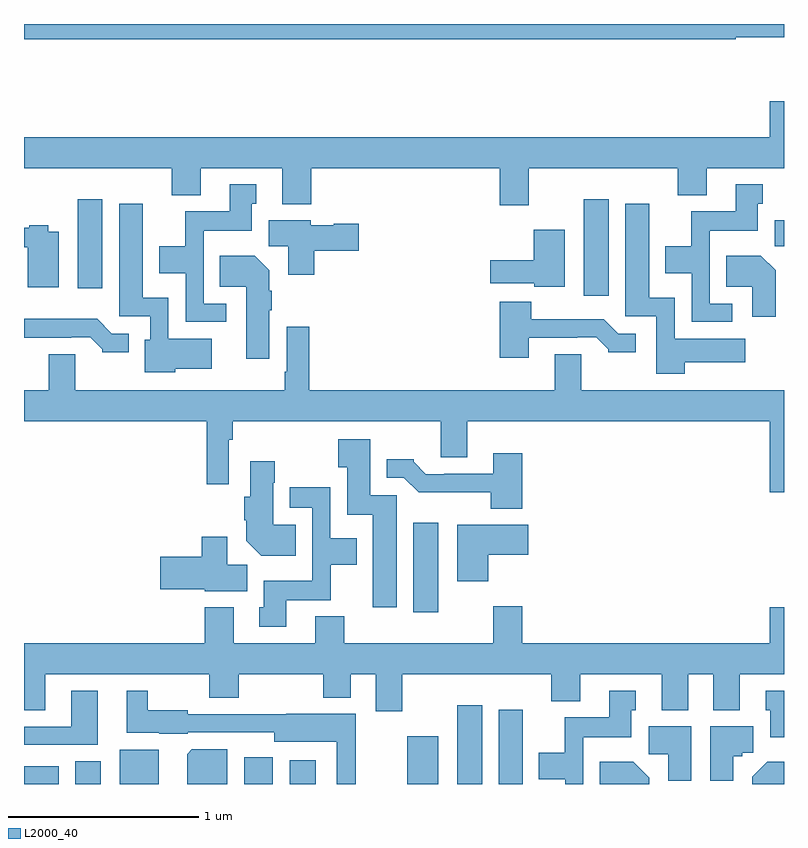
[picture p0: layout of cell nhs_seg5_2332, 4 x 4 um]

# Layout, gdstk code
import gdstk
lib = gdstk.Library(unit=1e-6, precision=1e-09)
def R(c, l, rs):  # rectangles x0, y0, x1, y1
    for r in rs: c.add(gdstk.rectangle(r[:2], r[2:], *l))
def P(c, l, *ps):  # polygons
    for p in ps: c.add(gdstk.Polygon(p, *l))
L2000_40 = (2000, 40)

nhs_seg5_2332 = lib.new_cell('nhs_seg5_2332')
R(nhs_seg5_2332, L2000_40, [(245,906.799,245.182,906.892), (245.27,906.799,245.404,906.92), (245.504,906.799,245.71,906.98), (246.158,906.799,246.31,906.941), (246.398,906.799,246.535,906.925), (247.28,906.799,247.411,907.213), (247.499,906.799,247.624,907.189), (247.049,907.704,247.18,908.173), (247.946,909.369,248.077,909.877), (245.282,909.408,245.413,909.877), (248.951,909.628,249,909.766)])
P(nhs_seg5_2332, L2000_40, [(248.745,910.728),(249,910.728),(249,910.799),(245,910.799),(245,910.72),(248.745,910.72)],
  [(247.657,910.04),(248.441,910.04),(248.441,909.899),(248.593,909.899),(248.593,910.04),(249,910.04),(249,910.393),(248.924,910.393),(248.924,910.204),(245,910.204),(245,910.04),(245.777,910.04),(245.777,909.899),(245.929,909.899),(245.929,910.04),(246.359,910.04),(246.359,909.851),(246.512,909.851),(246.512,910.04),(247.505,910.04),(247.505,909.846),(247.657,909.846)],
  [(246.064,909.327),(245.946,909.327),(245.946,909.71),(246.199,909.71),(246.199,909.852),(246.223,909.852),(246.223,909.955),(246.083,909.955),(246.083,909.814),(245.848,909.814),(245.848,909.628),(245.711,909.628),(245.711,909.488),(245.85,909.488),(245.85,909.231),(246.064,909.231)],
  [(248.728,909.327),(248.61,909.327),(248.61,909.71),(248.863,909.71),(248.863,909.852),(248.887,909.852),(248.887,909.955),(248.747,909.955),(248.747,909.814),(248.512,909.814),(248.512,909.628),(248.375,909.628),(248.375,909.488),(248.514,909.488),(248.514,909.231),(248.728,909.231)],
  [(245.796,908.984),(245.989,908.984),(245.989,909.142),(245.76,909.142),(245.76,909.358),(245.626,909.358),(245.626,909.853),(245.501,909.853),(245.501,909.261),(245.664,909.261),(245.664,909.138),(245.636,909.138),(245.636,908.966),(245.796,908.966)],
  [(248.477,909.02),(248.797,909.02),(248.797,909.142),(248.424,909.142),(248.424,909.358),(248.29,909.358),(248.29,909.853),(248.165,909.853),(248.165,909.261),(248.328,909.261),(248.328,908.958),(248.477,908.958)],
  [(246.527,909.605),(246.763,909.605),(246.763,909.747),(246.63,909.747),(246.63,909.739),(246.51,909.739),(246.51,909.766),(246.287,909.766),(246.287,909.628),(246.392,909.628),(246.392,909.48),(246.527,909.48)],
  [(245.182,909.706),(245.127,909.706),(245.127,909.739),(245.027,909.739),(245.027,909.726),(245,909.726),(245,909.625),(245.02,909.625),(245.02,909.413),(245.182,909.413)],
  [(247.846,909.715),(247.682,909.715),(247.682,909.556),(247.455,909.556),(247.455,909.434),(247.686,909.434),(247.686,909.416),(247.846,909.416)],
  [(246.292,909.292),(246.305,909.292),(246.305,909.395),(246.292,909.395),(246.292,909.502),(246.214,909.58),(246.031,909.58),(246.031,909.416),(246.17,909.416),(246.17,909.036),(246.292,909.036)],
  [(248.956,909.502),(248.878,909.58),(248.695,909.58),(248.695,909.416),(248.834,909.416),(248.834,909.258),(248.956,909.258)],
  [(247.657,909.147),(247.913,909.147),(247.913,909.15),(248.012,909.15),(248.076,909.086),(248.076,909.071),(248.221,909.071),(248.221,909.168),(248.127,909.168),(248.051,909.244),(247.67,909.244),(247.67,909.337),(247.505,909.337),(247.505,909.042),(247.657,909.042)],
  [(245.551,909.168),(245.463,909.168),(245.385,909.247),(245,909.247),(245,909.147),(245.249,909.147),(245.249,909.15),(245.348,909.15),(245.412,909.086),(245.412,909.071),(245.551,909.071)],
  [(249,908.872),(247.933,908.872),(247.933,909.062),(247.793,909.062),(247.793,908.872),(246.5,908.872),(246.5,909.205),(246.384,909.205),(246.384,908.968),(246.372,908.968),(246.372,908.872),(245.269,908.872),(245.269,909.062),(245.129,909.062),(245.129,908.872),(245,908.872),(245,908.708),(245.962,908.708),(245.962,908.376),(246.078,908.376),(246.078,908.612),(246.098,908.612),(246.098,908.708),(247.193,908.708),(247.193,908.518),(247.333,908.518),(247.333,908.708),(248.924,908.708),(248.924,908.334),(249,908.334)],
  [(246.961,908.319),(246.823,908.319),(246.823,908.614),(246.655,908.614),(246.655,908.467),(246.701,908.467),(246.701,908.216),(246.836,908.216),(246.836,907.728),(246.961,907.728)],
  [(247.622,908.539),(247.469,908.539),(247.469,908.433),(247.213,908.433),(247.213,908.43),(247.114,908.43),(247.05,908.494),(247.05,908.509),(246.908,908.509),(246.908,908.412),(246.999,908.412),(247.078,908.334),(247.457,908.334),(247.457,908.249),(247.622,908.249)],
  [(246.431,908.164),(246.313,908.164),(246.313,908.384),(246.321,908.384),(246.321,908.497),(246.191,908.497),(246.191,908.31),(246.158,908.31),(246.158,908.188),(246.17,908.188),(246.17,908.078),(246.248,908),(246.431,908)],
  [(246.379,907.766),(246.615,907.766),(246.615,907.952),(246.751,907.952),(246.751,908.092),(246.612,908.092),(246.612,908.362),(246.399,908.362),(246.399,908.253),(246.516,908.253),(246.516,907.87),(246.263,907.87),(246.263,907.728),(246.239,907.728),(246.239,907.626),(246.379,907.626)],
  [(247.444,908.006),(247.654,908.006),(247.654,908.164),(247.28,908.164),(247.28,907.866),(247.444,907.866)],
  [(246.175,907.952),(246.07,907.952),(246.07,908.101),(245.936,908.101),(245.936,907.994),(245.718,907.994),(245.718,907.823),(245.952,907.823),(245.952,907.814),(246.175,907.814)],
  [(246.991,907.376),(247.775,907.376),(247.775,907.235),(247.927,907.235),(247.927,907.376),(248.357,907.376),(248.357,907.187),(248.497,907.187),(248.497,907.376),(248.627,907.376),(248.627,907.187),(248.767,907.187),(248.767,907.376),(249,907.376),(249,907.729),(248.924,907.729),(248.924,907.54),(247.622,907.54),(247.622,907.735),(247.469,907.735),(247.469,907.54),(246.686,907.54),(246.686,907.681),(246.533,907.681),(246.533,907.54),(246.103,907.54),(246.103,907.729),(245.951,907.729),(245.951,907.54),(245,907.54),(245,907.186),(245.113,907.186),(245.113,907.376),(245.974,907.376),(245.974,907.252),(246.129,907.252),(246.129,907.376),(246.574,907.376),(246.574,907.253),(246.721,907.253),(246.721,907.376),(246.851,907.376),(246.851,907.182),(246.991,907.182)],
  [(245.389,907.291),(245.249,907.291),(245.249,907.101),(245,907.101),(245,907.005),(245.389,907.005)],
  [(246.746,907.168),(246.379,907.168),(246.379,907.167),(245.862,907.167),(245.862,907.186),(245.65,907.186),(245.65,907.291),(245.54,907.291),(245.54,907.07),(245.712,907.07),(245.712,907.064),(245.862,907.064),(245.862,907.071),(246.317,907.071),(246.317,907.022),(246.645,907.022),(246.645,906.799),(246.746,906.799)],
  [(247.944,907.046),(248.197,907.046),(248.197,907.188),(248.221,907.188),(248.221,907.291),(248.081,907.291),(248.081,907.15),(247.846,907.15),(247.846,906.964),(247.709,906.964),(247.709,906.824),(247.848,906.824),(247.848,906.799),(247.944,906.799)],
  [(249,907.291),(248.903,907.291),(248.903,907.188),(248.927,907.188),(248.927,907.046),(249,907.046)],
  [(248.512,907.102),(248.288,907.102),(248.288,906.955),(248.39,906.955),(248.39,906.816),(248.512,906.816)],
  [(248.734,906.946),(248.781,906.946),(248.781,906.964),(248.839,906.964),(248.839,907.102),(248.612,907.102),(248.612,906.816),(248.734,906.816)],
  [(247.18,907.051),(247.016,907.051),(247.016,906.897),(247.018,906.897),(247.018,906.799),(247.18,906.799)],
  [(246.07,906.982),(245.884,906.982),(245.858,906.956),(245.858,906.799),(246.07,906.799)],
  [(248.29,906.832),(248.206,906.916),(248.029,906.916),(248.029,906.799),(248.29,906.799)],
  [(249,906.916),(248.912,906.916),(248.834,906.838),(248.834,906.799),(249,906.799)])

lib.write_gds('nhs_seg5_2332.gds')
